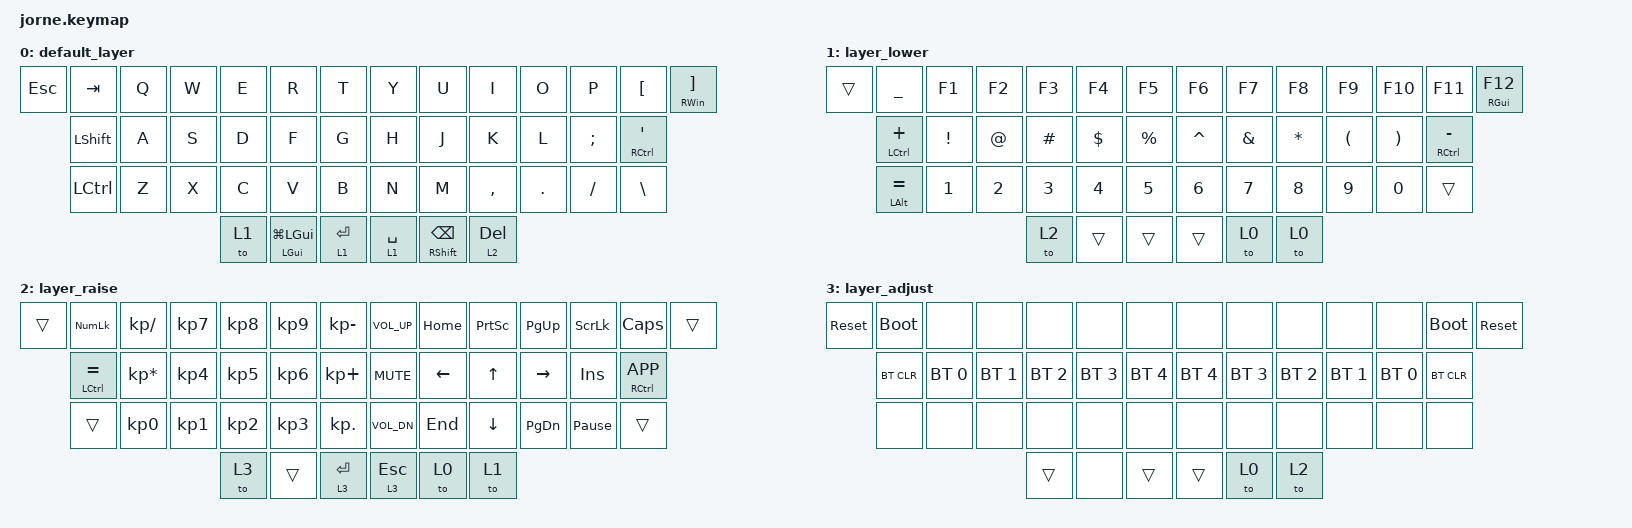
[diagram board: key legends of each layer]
/*
 * Copyright (c) 2020 The ZMK Contributors
 *
 * SPDX-License-Identifier: MIT
 */
/* THIS FILE WAS GENERATED!
 *
 * This file was generated automatically. You may or may not want to
 * edit it directly.
 */

#include <behaviors.dtsi>
#include <dt-bindings/zmk/bt.h>
#include <dt-bindings/zmk/keys.h>

/ {
    keymap {
        compatible = "zmk,keymap";

        default_layer {
            bindings = <
&kp ESCAPE  &kp TAB           &kp Q  &kp W  &kp E  &kp R                      &kp T        &kp Y        &kp U           &kp I      &kp O    &kp P     &kp LBKT       &mt RWIN RBKT
            &kp LEFT_SHIFT    &kp A  &kp S  &kp D  &kp F                      &kp G        &kp H        &kp J           &kp K      &kp L    &kp SEMI  &mt RCTRL SQT
            &kp LEFT_CONTROL  &kp Z  &kp X  &kp C  &kp V                      &kp B        &kp N        &kp M           &kp COMMA  &kp DOT  &kp FSLH  &kp BSLH
                                            &to 1  &mt LEFT_GUI LG(LEFT_GUI)  &lt 1 RET    &lt 1 SPACE  &mt RSHFT BSPC  &lt 2 DEL
            >;
        };

        layer_lower {
            bindings = <
&trans  &kp UNDER       &kp F1    &kp F2  &kp F3    &kp F4    &kp F5       &kp F6     &kp F7    &kp F8    &kp F9    &kp F10   &kp F11          &mt RGUI F12
        &mt LCTRL PLUS  &kp EXCL  &kp AT  &kp HASH  &kp DLLR  &kp PRCNT    &kp CARET  &kp AMPS  &kp STAR  &kp LPAR  &kp RPAR  &mt RCTRL MINUS
        &mt LALT EQUAL  &kp N1    &kp N2  &kp N3    &kp N4    &kp N5       &kp N6     &kp N7    &kp N8    &kp N9    &kp N0    &trans
                                          &to 2     &trans    &trans       &trans     &to 0     &to 0
            >;
        };

        layer_raise {
            bindings = <
&trans  &kp KP_NUM       &kp KP_SLASH     &kp KP_N7  &kp KP_N8  &kp KP_N9  &kp KP_MINUS    &kp C_VOL_UP  &kp HOME  &kp PSCRN  &kp PG_UP  &kp SLCK         &kp CAPS         &trans
        &mt LCTRL EQUAL  &kp KP_MULTIPLY  &kp KP_N4  &kp KP_N5  &kp KP_N6  &kp KP_PLUS     &kp C_MUTE    &kp LEFT  &kp UP     &kp RIGHT  &kp INS          &mt RCTRL K_APP
        &trans           &kp KP_N0        &kp KP_N1  &kp KP_N2  &kp KP_N3  &kp KP_DOT      &kp C_VOL_DN  &kp END   &kp DOWN   &kp PG_DN  &kp PAUSE_BREAK  &trans
                                                     &to 3      &trans     &lt 3 RET       &lt 3 ESC     &to 0     &to 1
            >;
        };

        layer_adjust {
            bindings = <
&sys_reset  &bootloader  &none         &none         &none         &none         &none           &none         &none         &none         &none         &none         &bootloader  &sys_reset
            &bt BT_CLR   &bt BT_SEL 0  &bt BT_SEL 1  &bt BT_SEL 2  &bt BT_SEL 3  &bt BT_SEL 4    &bt BT_SEL 4  &bt BT_SEL 3  &bt BT_SEL 2  &bt BT_SEL 1  &bt BT_SEL 0  &bt BT_CLR
            &none        &none         &none         &none         &none         &none           &none         &none         &none         &none         &none         &none
                                                     &trans        &none         &trans          &trans        &to 0         &to 2
            >;
        };
    };
};
